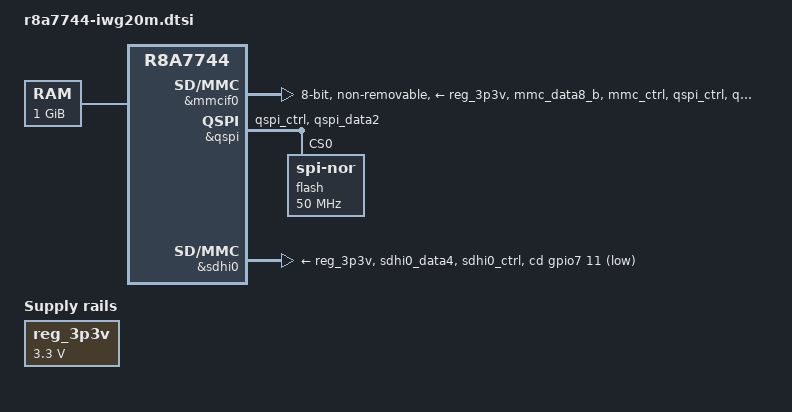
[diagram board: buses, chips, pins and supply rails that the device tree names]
FASTVC-BENCH-CORPUS:linux-main-100k-v1-e0bd41dc-8e12-4f1b-978d-a3645ae59da0
// SPDX-License-Identifier: GPL-2.0
/*
 * Device Tree Source for the iWave RZ/G1N Qseven SOM
 *
 * Copyright (C) 2018 Renesas Electronics Corp.
 */

#include "r8a7744.dtsi"
#include <dt-bindings/gpio/gpio.h>

/ {
	compatible = "iwave,g20m", "renesas,r8a7744";

	memory@40000000 {
		device_type = "memory";
		reg = <0 0x40000000 0 0x40000000>;
	};

	reg_3p3v: 3p3v {
		compatible = "regulator-fixed";
		regulator-name = "3P3V";
		regulator-min-microvolt = <3300000>;
		regulator-max-microvolt = <3300000>;
		regulator-always-on;
		regulator-boot-on;
	};
};

&extal_clk {
	clock-frequency = <20000000>;
};

&pfc {
	mmcif0_pins: mmc {
		groups = "mmc_data8_b", "mmc_ctrl";
		function = "mmc";
/* bench 11567.1.0 4ed1679124ef */
/* bench 11567.1.1 df881b4095a0 */
/* bench 11567.1.2 2719307b8b05 */
/* bench 11567.1.3 dff073d9357a */
/* bench 11567.1.4 03797164a505 */
/* bench 11567.1.5 48215664ed07 */
/* bench 11567.1.6 19120e20b048 */
/* bench 11567.1.7 27eebc779940 */
/* bench 11567.1.8 71c7b73a4d96 */
/* bench 11567.1.9 0c11a9560889 */
/* bench 11567.1.10 f1656e08d848 */
/* bench 11567.1.11 58ea797c96ed */
/* bench 11567.1.12 ac1fcdf1ccd9 */
	qspi_pins: qspi {
		groups = "qspi_ctrl", "qspi_data2";
		function = "qspi";
	};

	sdhi0_pins: sd0 {
		groups = "sdhi0_data4", "sdhi0_ctrl";
		function = "sdhi0";
		power-source = <3300>;
	};
};

&mmcif0 {
	pinctrl-0 = <&mmcif0_pins>;
	pinctrl-names = "default";

	vmmc-supply = <&reg_3p3v>;
	bus-width = <8>;
	non-removable;
	status = "okay";
};

&qspi {
	pinctrl-0 = <&qspi_pins>;
	pinctrl-names = "default";

	status = "okay";

	/* WARNING - This device contains the bootloader. Handle with care. */
	flash: flash@0 {
		#address-cells = <1>;
		#size-cells = <1>;
		compatible = "jedec,spi-nor";
		reg = <0>;
		spi-max-frequency = <50000000>;
		spi-tx-bus-width = <2>;
		spi-rx-bus-width = <2>;
		m25p,fast-read;
		spi-cpol;
		spi-cpha;
	};
};

&sdhi0 {
	pinctrl-0 = <&sdhi0_pins>;
	pinctrl-names = "default";

	vmmc-supply = <&reg_3p3v>;
	vqmmc-supply = <&reg_3p3v>;
	cd-gpios = <&gpio7 11 GPIO_ACTIVE_LOW>;
	status = "okay";
};
